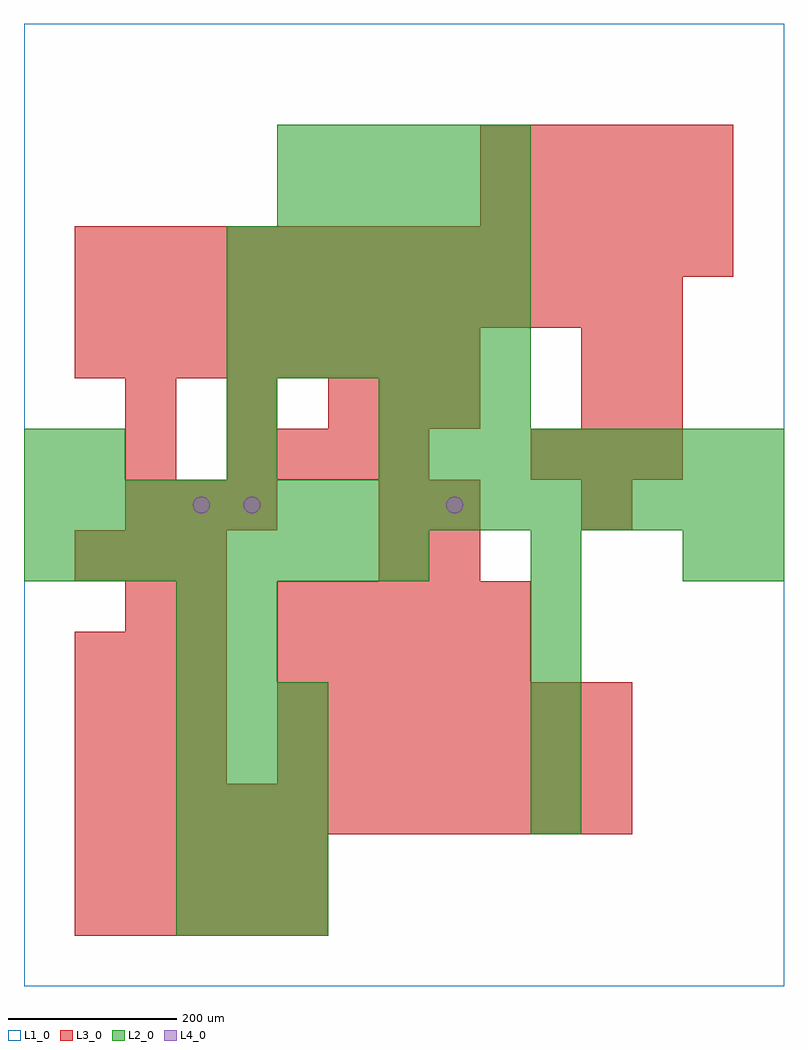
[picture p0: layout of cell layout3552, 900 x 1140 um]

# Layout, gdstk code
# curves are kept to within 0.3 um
import gdstk
lib = gdstk.Library(unit=1e-6, precision=1e-09)
def R(c, l, rs):  # rectangles x0, y0, x1, y1
    for r in rs: c.add(gdstk.rectangle(r[:2], r[2:], *l))
def A(c, l, x, y, w, h, nx, ny, dx, dy):  # array of equal rectangles
    R(c, l, [(x+i*dx, y+j*dy, x+i*dx+w, y+j*dy+h) for i in range(nx) for j in range(ny)])
def P(c, l, *ps):  # polygons
    for p in ps: c.add(gdstk.Polygon(p, *l))
L1_0 = (1, 0)
L2_0 = (2, 0)
L3_0 = (3, 0)
L4_0 = (4, 0)

layout3552 = lib.new_cell('layout3552')
R(layout3552, L1_0, [(0,0,900,1140)])
A(layout3552, L2_0, 180, 60, 60, 60, 3, 5, 60, 60)
A(layout3552, L2_0, 600, 180, 60, 60, 1, 6, 0, 60)
A(layout3552, L2_0, 0, 480, 60, 60, 8, 1, 60, 0)
A(layout3552, L2_0, 0, 540, 60, 60, 15, 1, 60, 0)
A(layout3552, L2_0, 60, 600, 60, 60, 3, 1, 180, 0)
A(layout3552, L2_0, 480, 600, 60, 60, 7, 1, 60, 0)
A(layout3552, L2_0, 420, 660, 60, 60, 3, 1, 60, 0)
A(layout3552, L2_0, 240, 720, 60, 60, 6, 3, 60, 60)
A(layout3552, L2_0, 300, 900, 60, 60, 5, 2, 60, 60)
R(layout3552, L2_0, [(180,360,240,420), (240,360,300,420), (180,420,240,480), (240,420,300,480), (780,480,840,540), (840,480,900,540), (0,600,60,660), (240,660,300,720)])
A(layout3552, L3_0, 60, 60, 60, 60, 5, 2, 60, 60)
A(layout3552, L3_0, 60, 180, 60, 60, 11, 1, 60, 0)
A(layout3552, L3_0, 60, 240, 60, 60, 3, 3, 60, 60)
A(layout3552, L3_0, 300, 240, 60, 60, 7, 2, 60, 60)
A(layout3552, L3_0, 300, 360, 60, 60, 5, 2, 60, 60)
A(layout3552, L3_0, 60, 480, 60, 60, 3, 1, 60, 0)
A(layout3552, L3_0, 120, 540, 60, 60, 3, 1, 60, 0)
A(layout3552, L3_0, 240, 600, 60, 60, 4, 1, 60, 0)
A(layout3552, L3_0, 600, 600, 60, 60, 3, 1, 60, 0)
A(layout3552, L3_0, 120, 660, 60, 60, 3, 1, 120, 0)
A(layout3552, L3_0, 60, 720, 60, 60, 8, 1, 60, 0)
A(layout3552, L3_0, 60, 780, 60, 60, 12, 1, 60, 0)
A(layout3552, L3_0, 60, 840, 60, 60, 13, 1, 60, 0)
A(layout3552, L3_0, 540, 900, 60, 60, 5, 2, 60, 60)
R(layout3552, L3_0, [(120,420,180,480), (180,420,240,480), (420,480,480,540), (480,480,540,540), (420,540,480,600), (480,540,540,600), (660,540,720,600), (120,600,180,660), (420,660,480,720), (480,660,540,720), (660,660,720,720), (720,660,780,720), (660,720,720,780), (720,720,780,780)])
P(layout3552, L4_0, [(220,570),(219.239,573.827),(217.071,577.071),(213.827,579.239),(210,580),(206.173,579.239),(202.929,577.071),(200.761,573.827),(200,570),(200.761,566.173),(202.929,562.929),(206.173,560.761),(210,560),(213.827,560.761),(217.071,562.929),(219.239,566.173)],
  [(280,570),(279.239,573.827),(277.071,577.071),(273.827,579.239),(270,580),(266.173,579.239),(262.929,577.071),(260.761,573.827),(260,570),(260.761,566.173),(262.929,562.929),(266.173,560.761),(270,560),(273.827,560.761),(277.071,562.929),(279.239,566.173)],
  [(520,570),(519.239,573.827),(517.071,577.071),(513.827,579.239),(510,580),(506.173,579.239),(502.929,577.071),(500.761,573.827),(500,570),(500.761,566.173),(502.929,562.929),(506.173,560.761),(510,560),(513.827,560.761),(517.071,562.929),(519.239,566.173)])

lib.write_gds('layout3552.gds')
